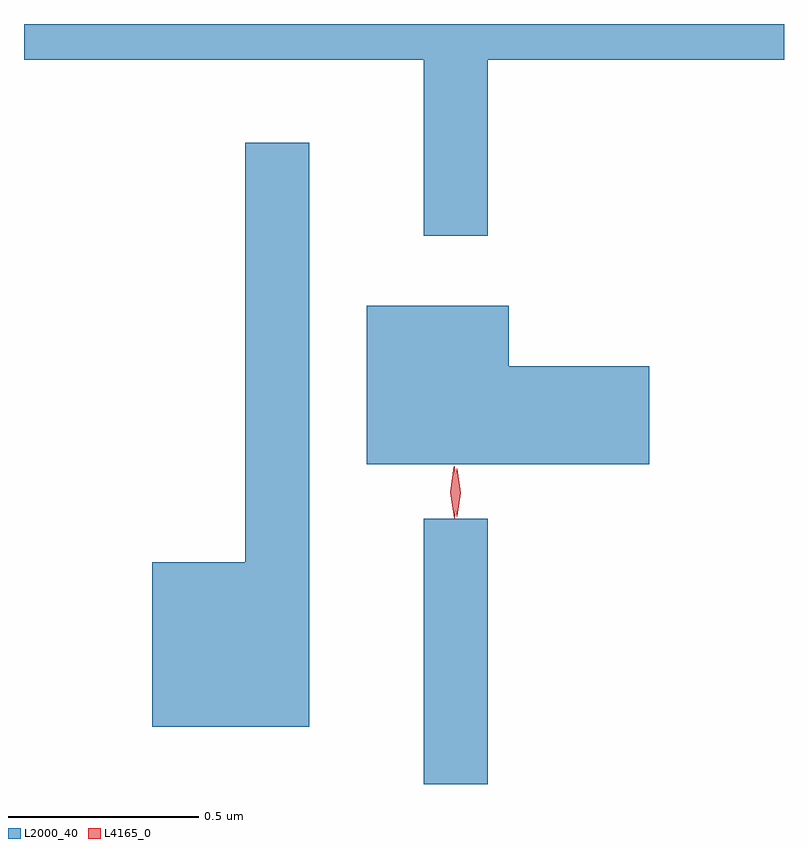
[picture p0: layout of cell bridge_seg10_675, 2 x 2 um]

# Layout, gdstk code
import gdstk
lib = gdstk.Library(unit=1e-6, precision=1e-09)
def R(c, l, rs):  # rectangles x0, y0, x1, y1
    for r in rs: c.add(gdstk.rectangle(r[:2], r[2:], *l))
def P(c, l, *ps):  # polygons
    for p in ps: c.add(gdstk.Polygon(p, *l))
L2000_40 = (2000, 40)
L4165_0 = (4165, 0)

bridge_seg10_675 = lib.new_cell('bridge_seg10_675')
R(bridge_seg10_675, L2000_40, [(758.061,2087.59,758.229,2088.288)])
P(bridge_seg10_675, L2000_40, [(758.229,2089.496),(759.009,2089.496),(759.009,2089.59),(757.009,2089.59),(757.009,2089.496),(758.061,2089.496),(758.061,2089.033),(758.229,2089.033)],
  [(757.759,2089.278),(757.591,2089.278),(757.591,2088.174),(757.346,2088.174),(757.346,2087.741),(757.759,2087.741)],
  [(758.654,2088.689),(758.284,2088.689),(758.284,2088.849),(757.911,2088.849),(757.911,2088.431),(758.654,2088.431)])
P(bridge_seg10_675, L4165_0, [(758.141,2088.29),(758.131,2088.358),(758.14,2088.425),(758.141,2088.426),(758.142,2088.425),(758.151,2088.358),(758.142,2088.29),(758.142,2088.29)],
  [(758.148,2088.293),(758.148,2088.294),(758.138,2088.356),(758.148,2088.419),(758.148,2088.42),(758.149,2088.419),(758.158,2088.356),(758.149,2088.294)])

lib.write_gds('bridge_seg10_675.gds')
